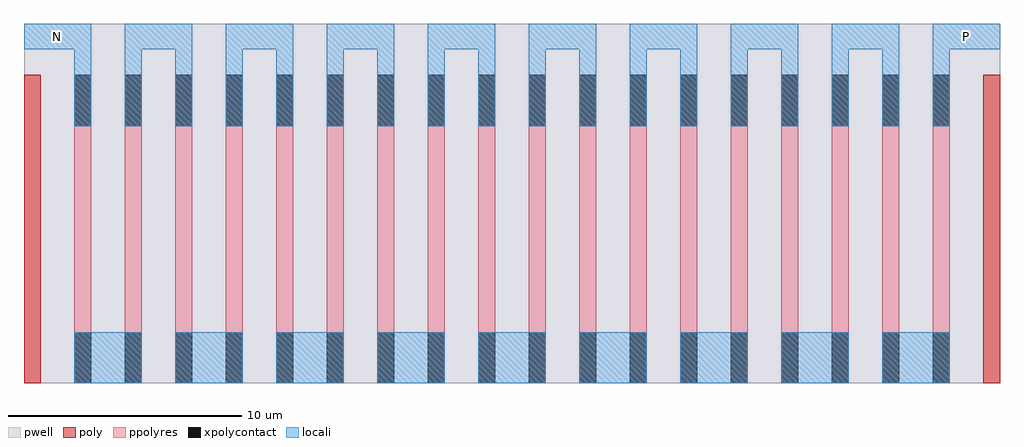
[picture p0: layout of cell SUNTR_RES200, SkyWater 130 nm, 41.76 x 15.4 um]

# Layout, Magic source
magic
tech sky130A
magscale 1 2
<< ppolyres >>
rect 360 -110 504 110
rect 792 -110 936 110
rect 1224 -110 1368 110
rect 1656 -110 1800 110
rect 2088 -110 2232 110
rect 2520 -110 2664 110
rect 2952 -110 3096 110
rect 3384 -110 3528 110
rect 3816 -110 3960 110
rect 4248 -110 4392 110
rect 4680 -110 4824 110
rect 5112 -110 5256 110
rect 5544 -110 5688 110
rect 5976 -110 6120 110
rect 6408 -110 6552 110
rect 6840 -110 6984 110
rect 7272 -110 7416 110
rect 7704 -110 7848 110
rect 360 110 504 330
rect 792 110 936 330
rect 1224 110 1368 330
rect 1656 110 1800 330
rect 2088 110 2232 330
rect 2520 110 2664 330
rect 2952 110 3096 330
rect 3384 110 3528 330
rect 3816 110 3960 330
rect 4248 110 4392 330
rect 4680 110 4824 330
rect 5112 110 5256 330
rect 5544 110 5688 330
rect 5976 110 6120 330
rect 6408 110 6552 330
rect 6840 110 6984 330
rect 7272 110 7416 330
rect 7704 110 7848 330
rect 360 330 504 550
rect 792 330 936 550
rect 1224 330 1368 550
rect 1656 330 1800 550
rect 2088 330 2232 550
rect 2520 330 2664 550
rect 2952 330 3096 550
rect 3384 330 3528 550
rect 3816 330 3960 550
rect 4248 330 4392 550
rect 4680 330 4824 550
rect 5112 330 5256 550
rect 5544 330 5688 550
rect 5976 330 6120 550
rect 6408 330 6552 550
rect 6840 330 6984 550
rect 7272 330 7416 550
rect 7704 330 7848 550
rect 360 550 504 770
rect 792 550 936 770
rect 1224 550 1368 770
rect 1656 550 1800 770
rect 2088 550 2232 770
rect 2520 550 2664 770
rect 2952 550 3096 770
rect 3384 550 3528 770
rect 3816 550 3960 770
rect 4248 550 4392 770
rect 4680 550 4824 770
rect 5112 550 5256 770
rect 5544 550 5688 770
rect 5976 550 6120 770
rect 6408 550 6552 770
rect 6840 550 6984 770
rect 7272 550 7416 770
rect 7704 550 7848 770
rect 360 770 504 990
rect 792 770 936 990
rect 1224 770 1368 990
rect 1656 770 1800 990
rect 2088 770 2232 990
rect 2520 770 2664 990
rect 2952 770 3096 990
rect 3384 770 3528 990
rect 3816 770 3960 990
rect 4248 770 4392 990
rect 4680 770 4824 990
rect 5112 770 5256 990
rect 5544 770 5688 990
rect 5976 770 6120 990
rect 6408 770 6552 990
rect 6840 770 6984 990
rect 7272 770 7416 990
rect 7704 770 7848 990
rect 360 990 504 1210
rect 792 990 936 1210
rect 1224 990 1368 1210
rect 1656 990 1800 1210
rect 2088 990 2232 1210
rect 2520 990 2664 1210
rect 2952 990 3096 1210
rect 3384 990 3528 1210
rect 3816 990 3960 1210
rect 4248 990 4392 1210
rect 4680 990 4824 1210
rect 5112 990 5256 1210
rect 5544 990 5688 1210
rect 5976 990 6120 1210
rect 6408 990 6552 1210
rect 6840 990 6984 1210
rect 7272 990 7416 1210
rect 7704 990 7848 1210
rect 360 1210 504 1430
rect 792 1210 936 1430
rect 1224 1210 1368 1430
rect 1656 1210 1800 1430
rect 2088 1210 2232 1430
rect 2520 1210 2664 1430
rect 2952 1210 3096 1430
rect 3384 1210 3528 1430
rect 3816 1210 3960 1430
rect 4248 1210 4392 1430
rect 4680 1210 4824 1430
rect 5112 1210 5256 1430
rect 5544 1210 5688 1430
rect 5976 1210 6120 1430
rect 6408 1210 6552 1430
rect 6840 1210 6984 1430
rect 7272 1210 7416 1430
rect 7704 1210 7848 1430
rect 360 1430 504 1650
rect 792 1430 936 1650
rect 1224 1430 1368 1650
rect 1656 1430 1800 1650
rect 2088 1430 2232 1650
rect 2520 1430 2664 1650
rect 2952 1430 3096 1650
rect 3384 1430 3528 1650
rect 3816 1430 3960 1650
rect 4248 1430 4392 1650
rect 4680 1430 4824 1650
rect 5112 1430 5256 1650
rect 5544 1430 5688 1650
rect 5976 1430 6120 1650
rect 6408 1430 6552 1650
rect 6840 1430 6984 1650
rect 7272 1430 7416 1650
rect 7704 1430 7848 1650
rect 360 1650 504 1870
rect 792 1650 936 1870
rect 1224 1650 1368 1870
rect 1656 1650 1800 1870
rect 2088 1650 2232 1870
rect 2520 1650 2664 1870
rect 2952 1650 3096 1870
rect 3384 1650 3528 1870
rect 3816 1650 3960 1870
rect 4248 1650 4392 1870
rect 4680 1650 4824 1870
rect 5112 1650 5256 1870
rect 5544 1650 5688 1870
rect 5976 1650 6120 1870
rect 6408 1650 6552 1870
rect 6840 1650 6984 1870
rect 7272 1650 7416 1870
rect 7704 1650 7848 1870
rect 360 1870 504 2090
rect 792 1870 936 2090
rect 1224 1870 1368 2090
rect 1656 1870 1800 2090
rect 2088 1870 2232 2090
rect 2520 1870 2664 2090
rect 2952 1870 3096 2090
rect 3384 1870 3528 2090
rect 3816 1870 3960 2090
rect 4248 1870 4392 2090
rect 4680 1870 4824 2090
rect 5112 1870 5256 2090
rect 5544 1870 5688 2090
rect 5976 1870 6120 2090
rect 6408 1870 6552 2090
rect 6840 1870 6984 2090
rect 7272 1870 7416 2090
rect 7704 1870 7848 2090
rect 360 2090 504 2310
rect 792 2090 936 2310
rect 1224 2090 1368 2310
rect 1656 2090 1800 2310
rect 2088 2090 2232 2310
rect 2520 2090 2664 2310
rect 2952 2090 3096 2310
rect 3384 2090 3528 2310
rect 3816 2090 3960 2310
rect 4248 2090 4392 2310
rect 4680 2090 4824 2310
rect 5112 2090 5256 2310
rect 5544 2090 5688 2310
rect 5976 2090 6120 2310
rect 6408 2090 6552 2310
rect 6840 2090 6984 2310
rect 7272 2090 7416 2310
rect 7704 2090 7848 2310
rect 360 2310 504 2530
rect 792 2310 936 2530
rect 1224 2310 1368 2530
rect 1656 2310 1800 2530
rect 2088 2310 2232 2530
rect 2520 2310 2664 2530
rect 2952 2310 3096 2530
rect 3384 2310 3528 2530
rect 3816 2310 3960 2530
rect 4248 2310 4392 2530
rect 4680 2310 4824 2530
rect 5112 2310 5256 2530
rect 5544 2310 5688 2530
rect 5976 2310 6120 2530
rect 6408 2310 6552 2530
rect 6840 2310 6984 2530
rect 7272 2310 7416 2530
rect 7704 2310 7848 2530
<< poly >>
rect -72 -110 72 110
rect 8136 -110 8280 110
rect -72 110 72 330
rect 8136 110 8280 330
rect -72 330 72 550
rect 8136 330 8280 550
rect -72 550 72 770
rect 8136 550 8280 770
rect -72 770 72 990
rect 8136 770 8280 990
rect -72 990 72 1210
rect 8136 990 8280 1210
rect -72 1210 72 1430
rect 8136 1210 8280 1430
rect -72 1430 72 1650
rect 8136 1430 8280 1650
rect -72 1650 72 1870
rect 8136 1650 8280 1870
rect -72 1870 72 2090
rect 8136 1870 8280 2090
rect -72 2090 72 2310
rect 8136 2090 8280 2310
rect -72 2310 72 2530
rect 8136 2310 8280 2530
<< xpolycontact >>
rect 360 -110 504 110
rect 792 -110 936 110
rect 1224 -110 1368 110
rect 1656 -110 1800 110
rect 2088 -110 2232 110
rect 2520 -110 2664 110
rect 2952 -110 3096 110
rect 3384 -110 3528 110
rect 3816 -110 3960 110
rect 4248 -110 4392 110
rect 4680 -110 4824 110
rect 5112 -110 5256 110
rect 5544 -110 5688 110
rect 5976 -110 6120 110
rect 6408 -110 6552 110
rect 6840 -110 6984 110
rect 7272 -110 7416 110
rect 7704 -110 7848 110
rect 360 110 504 330
rect 792 110 936 330
rect 1224 110 1368 330
rect 1656 110 1800 330
rect 2088 110 2232 330
rect 2520 110 2664 330
rect 2952 110 3096 330
rect 3384 110 3528 330
rect 3816 110 3960 330
rect 4248 110 4392 330
rect 4680 110 4824 330
rect 5112 110 5256 330
rect 5544 110 5688 330
rect 5976 110 6120 330
rect 6408 110 6552 330
rect 6840 110 6984 330
rect 7272 110 7416 330
rect 7704 110 7848 330
rect 360 2090 504 2310
rect 792 2090 936 2310
rect 1224 2090 1368 2310
rect 1656 2090 1800 2310
rect 2088 2090 2232 2310
rect 2520 2090 2664 2310
rect 2952 2090 3096 2310
rect 3384 2090 3528 2310
rect 3816 2090 3960 2310
rect 4248 2090 4392 2310
rect 4680 2090 4824 2310
rect 5112 2090 5256 2310
rect 5544 2090 5688 2310
rect 5976 2090 6120 2310
rect 6408 2090 6552 2310
rect 6840 2090 6984 2310
rect 7272 2090 7416 2310
rect 7704 2090 7848 2310
rect 360 2310 504 2530
rect 792 2310 936 2530
rect 1224 2310 1368 2530
rect 1656 2310 1800 2530
rect 2088 2310 2232 2530
rect 2520 2310 2664 2530
rect 2952 2310 3096 2530
rect 3384 2310 3528 2530
rect 3816 2310 3960 2530
rect 4248 2310 4392 2530
rect 4680 2310 4824 2530
rect 5112 2310 5256 2530
rect 5544 2310 5688 2530
rect 5976 2310 6120 2530
rect 6408 2310 6552 2530
rect 6840 2310 6984 2530
rect 7272 2310 7416 2530
rect 7704 2310 7848 2530
<< locali >>
rect 360 -110 936 110
rect 1224 -110 1800 110
rect 2088 -110 2664 110
rect 2952 -110 3528 110
rect 3816 -110 4392 110
rect 4680 -110 5256 110
rect 5544 -110 6120 110
rect 6408 -110 6984 110
rect 7272 -110 7848 110
rect 360 110 936 330
rect 1224 110 1800 330
rect 2088 110 2664 330
rect 2952 110 3528 330
rect 3816 110 4392 330
rect 4680 110 5256 330
rect 5544 110 6120 330
rect 6408 110 6984 330
rect 7272 110 7848 330
rect 360 2090 504 2310
rect 792 2090 936 2310
rect 1224 2090 1368 2310
rect 1656 2090 1800 2310
rect 2088 2090 2232 2310
rect 2520 2090 2664 2310
rect 2952 2090 3096 2310
rect 3384 2090 3528 2310
rect 3816 2090 3960 2310
rect 4248 2090 4392 2310
rect 4680 2090 4824 2310
rect 5112 2090 5256 2310
rect 5544 2090 5688 2310
rect 5976 2090 6120 2310
rect 6408 2090 6552 2310
rect 6840 2090 6984 2310
rect 7272 2090 7416 2310
rect 7704 2090 7848 2310
rect 360 2310 504 2530
rect 792 2310 936 2530
rect 1224 2310 1368 2530
rect 1656 2310 1800 2530
rect 2088 2310 2232 2530
rect 2520 2310 2664 2530
rect 2952 2310 3096 2530
rect 3384 2310 3528 2530
rect 3816 2310 3960 2530
rect 4248 2310 4392 2530
rect 4680 2310 4824 2530
rect 5112 2310 5256 2530
rect 5544 2310 5688 2530
rect 5976 2310 6120 2530
rect 6408 2310 6552 2530
rect 6840 2310 6984 2530
rect 7272 2310 7416 2530
rect 7704 2310 7848 2530
rect 360 2530 504 2750
rect 792 2530 936 2750
rect 1224 2530 1368 2750
rect 1656 2530 1800 2750
rect 2088 2530 2232 2750
rect 2520 2530 2664 2750
rect 2952 2530 3096 2750
rect 3384 2530 3528 2750
rect 3816 2530 3960 2750
rect 4248 2530 4392 2750
rect 4680 2530 4824 2750
rect 5112 2530 5256 2750
rect 5544 2530 5688 2750
rect 5976 2530 6120 2750
rect 6408 2530 6552 2750
rect 6840 2530 6984 2750
rect 7272 2530 7416 2750
rect 7704 2530 7848 2750
rect -72 2750 504 2970
rect -72 2750 504 2970
rect 792 2750 1368 2970
rect 1656 2750 2232 2970
rect 2520 2750 3096 2970
rect 3384 2750 3960 2970
rect 4248 2750 4824 2970
rect 5112 2750 5688 2970
rect 5976 2750 6552 2970
rect 6840 2750 7416 2970
rect 7704 2750 8280 2970
rect 7704 2750 8280 2970
<< pwell >>
rect -72 -110 8280 2970
<< labels >>
flabel locali s -72 2750 504 2970 0 FreeSans 400 0 0 0 N
port 1 nsew
flabel locali s 7704 2750 8280 2970 0 FreeSans 400 0 0 0 P
port 2 nsew
<< end >>
